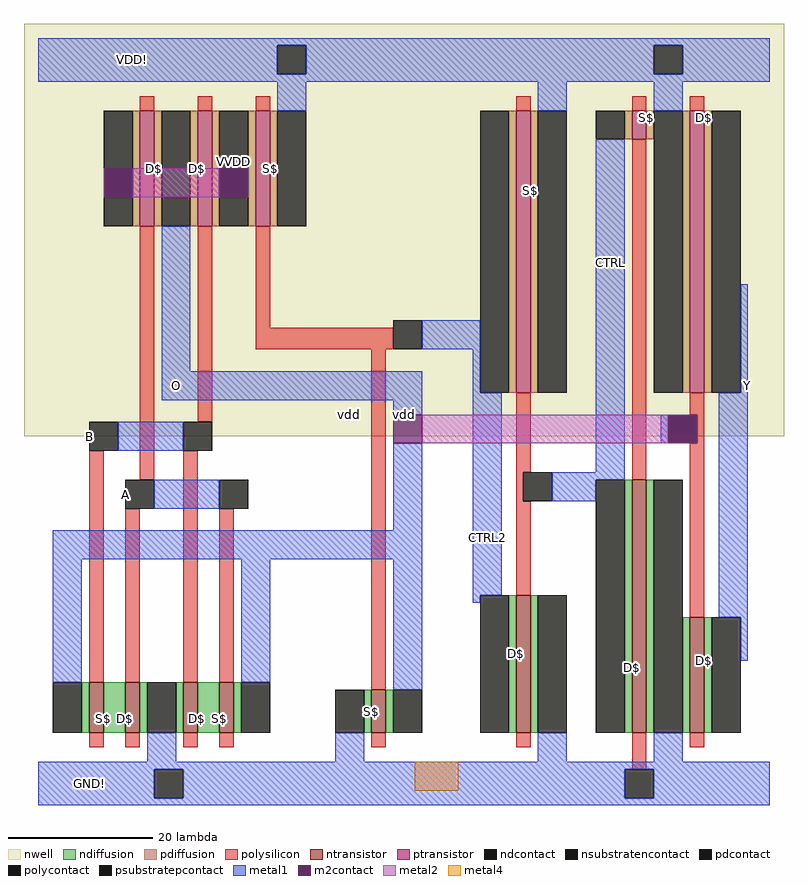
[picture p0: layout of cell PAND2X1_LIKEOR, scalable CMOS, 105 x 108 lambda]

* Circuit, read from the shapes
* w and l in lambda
.subckt PAND2X1_LIKEOR VDD! GND! B A Y
M1 n1 B O GND! nfet w=7 l=2
M2 GND! A n1 GND! nfet w=7 l=2
M3 n2 B GND! GND! nfet w=7 l=2
M4 O A n2 GND! nfet w=7 l=2
M5 O CTRL2 GND! GND! nfet w=6 l=2
M6 GND! CTRL CTRL2 GND! nfet w=19 l=2
M7 GND! GND! CTRL GND! nfet w=35 l=2
M8 Y O GND! GND! nfet w=16 l=2
M9 O A VVDD VDD! pfet w=16 l=2
M10 VVDD B O VDD! pfet w=16 l=2
M11 VDD! CTRL2 VVDD VDD! pfet w=16 l=2
M12 VDD! CTRL CTRL2 VDD! pfet w=39 l=2
M13 VDD! GND! CTRL VDD! pfet w=4 l=2
M14 Y O VDD! VDD! pfet w=39 l=2
.ends

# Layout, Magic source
magic
tech scmos
<< nwell >>
rect -4 48 101 105
<< ntransistor >>
rect 5 7 7 14
rect 10 7 12 14
rect 18 7 20 14
rect 23 7 25 14
rect 44 7 46 13
rect 64 7 66 26
rect 80 7 82 42
rect 88 7 90 23
<< ptransistor >>
rect 12 77 14 93
rect 20 77 22 93
rect 28 77 30 93
rect 64 54 66 93
rect 80 89 82 93
rect 88 54 90 93
<< ndiffusion >>
rect 4 7 5 14
rect 7 7 10 14
rect 12 7 13 14
rect 17 7 18 14
rect 20 7 23 14
rect 25 7 26 14
rect 43 7 44 13
rect 46 7 47 13
rect 63 7 64 26
rect 66 7 67 26
rect 79 7 80 42
rect 82 7 83 42
rect 87 7 88 23
rect 90 7 91 23
<< pdiffusion >>
rect 11 77 12 93
rect 14 77 15 93
rect 19 77 20 93
rect 22 77 23 93
rect 27 77 28 93
rect 30 77 31 93
rect 63 54 64 93
rect 66 54 67 93
rect 79 89 80 93
rect 82 89 83 93
rect 87 54 88 93
rect 90 54 91 93
<< ndcontact >>
rect 0 7 4 14
rect 13 7 17 14
rect 26 7 30 14
rect 39 7 43 13
rect 47 7 51 13
rect 59 7 63 26
rect 67 7 71 26
rect 75 7 79 42
rect 83 7 87 42
rect 91 7 95 23
<< pdcontact >>
rect 7 77 11 93
rect 15 77 19 93
rect 23 77 27 93
rect 31 77 35 93
rect 59 54 63 93
rect 67 54 71 93
rect 75 89 79 93
rect 83 54 87 93
rect 91 54 95 93
<< psubstratepcontact >>
rect 14 -2 18 2
<< nsubstratencontact >>
rect 31 98 35 102
rect 83 98 87 102
<< polysilicon >>
rect 12 93 14 95
rect 20 93 22 95
rect 28 93 30 95
rect 64 93 66 95
rect 80 93 82 95
rect 88 93 90 95
rect 5 14 7 46
rect 12 42 14 77
rect 20 50 22 77
rect 28 63 30 77
rect 28 60 47 63
rect 10 14 12 38
rect 18 14 20 46
rect 23 14 25 38
rect 44 13 46 60
rect 64 43 66 54
rect 64 39 65 43
rect 80 42 82 89
rect 88 51 90 54
rect 89 47 90 51
rect 64 26 66 39
rect 88 23 90 47
rect 5 5 7 7
rect 10 5 12 7
rect 18 5 20 7
rect 23 5 25 7
rect 44 5 46 7
rect 64 5 66 7
rect 80 2 82 7
rect 88 5 90 7
<< polycontact >>
rect 5 46 9 50
rect 47 60 51 64
rect 10 38 14 42
rect 18 46 22 50
rect 23 38 27 42
rect 65 39 69 43
rect 85 47 89 51
rect 79 -2 83 2
<< metal1 >>
rect -2 102 99 103
rect -2 98 31 102
rect 35 98 83 102
rect 87 98 99 102
rect -2 97 99 98
rect 31 93 35 97
rect 67 93 71 97
rect 83 93 87 97
rect 15 57 19 77
rect 51 60 59 64
rect 15 53 51 57
rect 47 51 51 53
rect 9 46 18 50
rect 14 38 23 42
rect 47 35 51 47
rect 0 31 51 35
rect 0 14 4 31
rect 26 14 30 31
rect 47 13 51 31
rect 58 54 59 60
rect 58 26 62 54
rect 75 43 79 89
rect 95 54 96 69
rect 84 47 85 51
rect 69 42 79 43
rect 69 39 75 42
rect 58 25 59 26
rect 92 23 96 54
rect 95 17 96 23
rect 13 3 17 7
rect 39 3 43 7
rect 67 3 71 7
rect 83 3 87 7
rect -2 2 99 3
rect -2 -2 14 2
rect 18 -2 79 2
rect 83 -2 99 2
rect -2 -3 99 -2
<< m2contact >>
rect 7 81 11 85
rect 23 81 27 85
rect 47 47 51 51
rect 85 47 89 51
<< metal2 >>
rect 11 81 23 85
rect 51 47 85 51
<< metal4 >>
rect 50 -1 56 3
<< labels >>
rlabel metal1 11 100 11 100 1 VDD!
port 1 n power bidirectional
rlabel ptransistor 20 85 20 85 1 D$
rlabel ptransistor 14 85 14 85 1 D$
rlabel polycontact 5 46 5 50 1 B
port 3 n signal input
rlabel metal1 17 55 17 55 1 O
rlabel ntransistor 7 9 7 9 1 S$
rlabel ntransistor 5 9 5 9 1 D$
rlabel metal1 5 0 5 0 1 GND!
port 2 n power bidirectional
rlabel space -4 -3 86 105 1 vdd
rlabel space -4 -3 86 105 1 gnd
rlabel ptransistor 12 85 12 85 1 S$
rlabel ptransistor 22 85 22 85 1 S$
rlabel pdcontact 25 86 25 86 1 VVDD
rlabel ptransistor 30 85 30 85 1 S$
rlabel ptransistor 28 85 28 85 1 D$
rlabel metal1 96 53 96 57 1 Y
port 5 n signal output
rlabel ntransistor 80 16 80 16 1 D$
rlabel ntransistor 82 16 82 16 1 S$
rlabel ptransistor 82 92 82 92 1 S$
rlabel ptransistor 80 92 80 92 1 D$
rlabel ptransistor 90 92 90 92 1 D$
rlabel ptransistor 88 92 88 92 1 S$
rlabel metal1 77 72 77 72 1 CTRL
rlabel metal1 60 34 60 34 1 CTRL2
rlabel ntransistor 64 18 64 18 1 D$
rlabel ntransistor 66 18 66 18 1 S$
rlabel ptransistor 66 82 66 82 1 S$
rlabel ptransistor 64 82 64 82 1 D$
rlabel ntransistor 90 17 90 17 1 D$
rlabel ntransistor 88 17 88 17 1 S$
rlabel ntransistor 44 10 44 10 1 S$
rlabel ntransistor 46 10 46 10 1 D$
rlabel ntransistor 20 9 20 9 1 D$
rlabel ntransistor 18 9 18 9 1 S$
rlabel polycontact 10 38 10 42 1 A
port 4 n signal input
rlabel ntransistor 10 9 10 9 1 D$
rlabel ntransistor 12 9 12 9 1 S$
rlabel ntransistor 23 9 23 9 1 S$
rlabel ntransistor 25 9 25 9 1 D$
rlabel space -4 -3 101 105 1 vdd
rlabel space -4 -3 101 105 1 gnd
<< end >>
